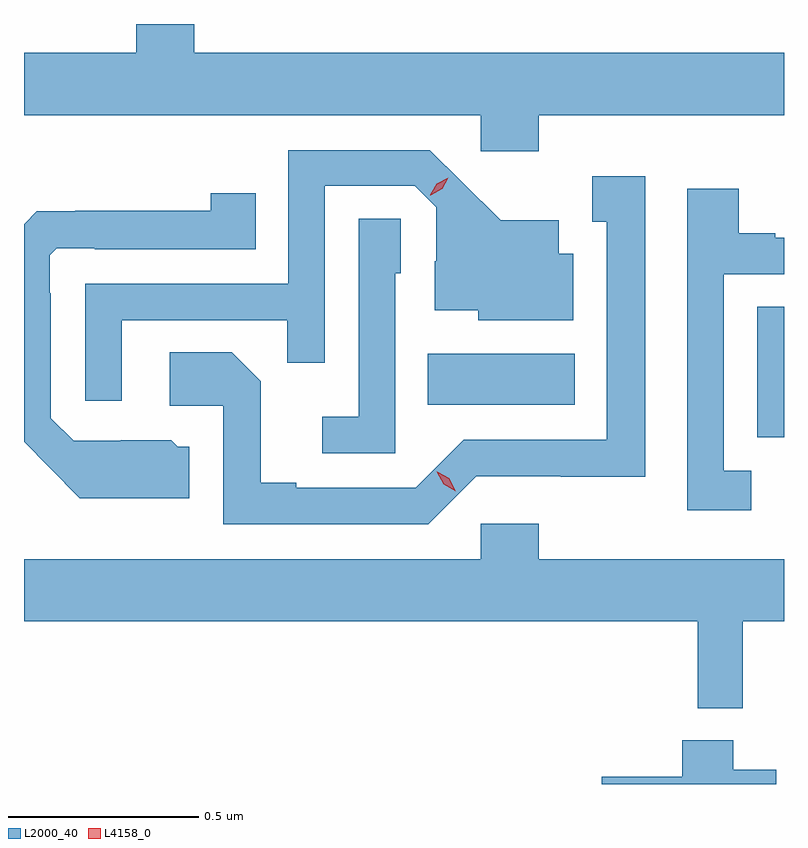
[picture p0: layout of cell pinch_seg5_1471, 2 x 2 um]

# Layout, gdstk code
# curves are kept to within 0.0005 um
import gdstk
lib = gdstk.Library(unit=1e-6, precision=1e-09)
def R(c, l, rs):  # rectangles x0, y0, x1, y1
    for r in rs: c.add(gdstk.rectangle(r[:2], r[2:], *l))
def P(c, l, *ps):  # polygons
    for p in ps: c.add(gdstk.Polygon(p, *l))
L2000_40 = (2000, 40)
L4158_0 = (4158, 0)

pinch_seg5_1471 = lib.new_cell('pinch_seg5_1471')
R(pinch_seg5_1471, L2000_40, [(133.13,913.189,133.2,913.532), (132.262,913.274,132.649,913.408)])
P(pinch_seg5_1471, L2000_40, [(132.554,914.036),(133.2,914.036),(133.2,914.2),(131.648,914.2),(131.648,914.276),(131.496,914.276),(131.496,914.2),(131.2,914.2),(131.2,914.036),(132.402,914.036),(132.402,913.941),(132.554,913.941)],
  [(131.457,913.497),(131.893,913.497),(131.893,913.384),(131.991,913.384),(131.991,913.851),(132.228,913.851),(132.285,913.794),(132.285,913.652),(132.281,913.652),(132.281,913.523),(132.396,913.523),(132.396,913.496),(132.646,913.496),(132.646,913.672),(132.607,913.672),(132.607,913.759),(132.455,913.759),(132.268,913.944),(131.895,913.944),(131.895,913.593),(131.361,913.593),(131.361,913.284),(131.457,913.284)],
  [(132.39,913.086),(132.612,913.086),(132.612,913.085),(132.835,913.085),(132.835,913.876),(132.695,913.876),(132.695,913.755),(132.734,913.755),(132.734,913.182),(132.357,913.182),(132.231,913.056),(131.917,913.056),(131.917,913.069),(131.823,913.069),(131.823,913.336),(131.747,913.412),(131.583,913.412),(131.583,913.272),(131.724,913.272),(131.724,912.96),(132.264,912.96)],
  [(133.114,913.101),(133.041,913.101),(133.041,913.617),(133.2,913.617),(133.2,913.713),(133.177,913.713),(133.177,913.726),(133.081,913.726),(133.081,913.843),(132.945,913.843),(132.945,912.996),(133.114,912.996)],
  [(131.635,913.164),(131.604,913.164),(131.588,913.18),(131.454,913.18),(131.454,913.179),(131.331,913.179),(131.271,913.239),(131.271,913.568),(131.268,913.568),(131.268,913.668),(131.286,913.686),(131.386,913.686),(131.386,913.683),(131.81,913.683),(131.81,913.831),(131.692,913.831),(131.692,913.784),(131.335,913.784),(131.335,913.783),(131.234,913.783),(131.2,913.749),(131.2,913.177),(131.347,913.028),(131.635,913.028)],
  [(132.177,913.62),(132.192,913.62),(132.192,913.763),(132.081,913.763),(132.081,913.243),(131.985,913.243),(131.985,913.146),(132.177,913.146)],
  [(133.091,912.704),(133.2,912.704),(133.2,912.868),(132.554,912.868),(132.554,912.961),(132.402,912.961),(132.402,912.868),(131.2,912.868),(131.2,912.704),(132.973,912.704),(132.973,912.476),(133.091,912.476)],
  [(133.18,912.313),(133.066,912.313),(133.066,912.391),(132.932,912.391),(132.932,912.295),(132.721,912.295),(132.721,912.276),(133.18,912.276)])
P(pinch_seg5_1471, L4158_0, [(132.269,913.826),(132.269,913.827),(132.286,913.856),(132.316,913.872),(132.316,913.872),(132.316,913.872),(132.3,913.842),(132.27,913.826)],
  [(132.336,913.047),(132.304,913.065),(132.286,913.098),(132.286,913.098),(132.287,913.098),(132.319,913.08),(132.336,913.047),(132.336,913.047)])

lib.write_gds('pinch_seg5_1471.gds')
